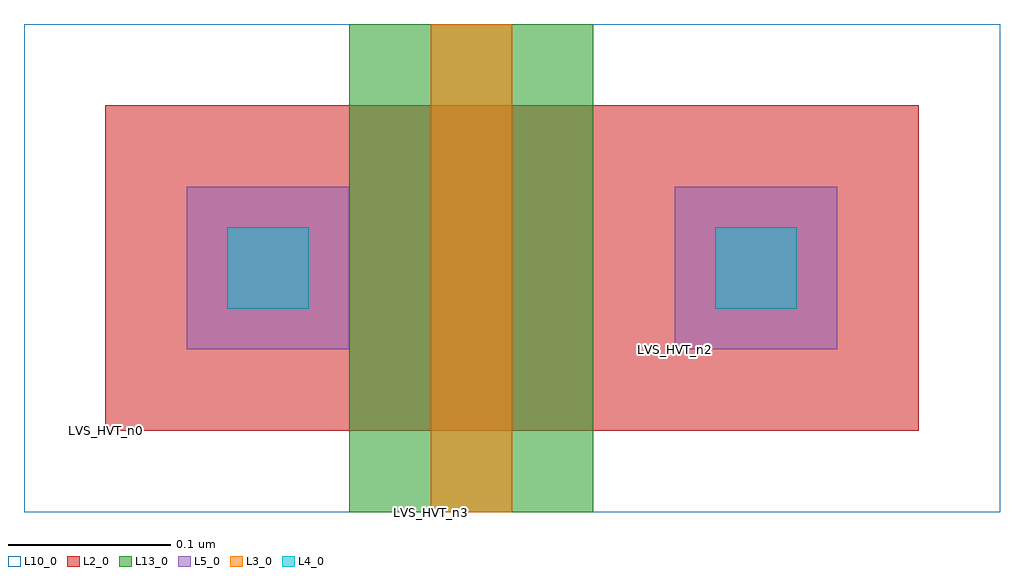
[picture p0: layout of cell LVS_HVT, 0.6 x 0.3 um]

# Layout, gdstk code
import gdstk
lib = gdstk.Library(unit=1e-6, precision=1e-09)
def R(c, l, rs):  # rectangles x0, y0, x1, y1
    for r in rs: c.add(gdstk.rectangle(r[:2], r[2:], *l))
L2_0 = (2, 0)
L3_0 = (3, 0)
L4_0 = (4, 0)
L5_0 = (5, 0)
L10_0 = (10, 0)
L13_0 = (13, 0)

lvs_hvt = lib.new_cell('LVS_HVT')
R(lvs_hvt, L2_0, [(0,0,0.5,0.2)])
R(lvs_hvt, L3_0, [(0.2,-0.05,0.25,0.25)])
R(lvs_hvt, L4_0, [(0.075,0.075,0.125,0.125), (0.375,0.075,0.425,0.125)])
R(lvs_hvt, L5_0, [(0.05,0.05,0.15,0.15), (0.35,0.05,0.45,0.15)])
R(lvs_hvt, L10_0, [(-0.05,-0.05,0.55,0.25)])
R(lvs_hvt, L13_0, [(0.15,-0.05,0.3,0.25)])
lvs_hvt.add(gdstk.Label('LVS_HVT_n0', (0,0), layer=2, texttype=5))
lvs_hvt.add(gdstk.Label('LVS_HVT_n2', (0.35,0.05), layer=5, texttype=5))
lvs_hvt.add(gdstk.Label('LVS_HVT_n3', (0.2,-0.05), layer=3, texttype=5))

lib.write_gds('LVS_HVT.gds')
